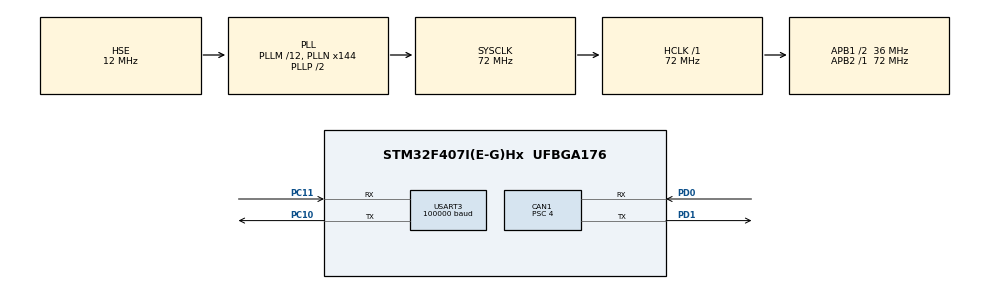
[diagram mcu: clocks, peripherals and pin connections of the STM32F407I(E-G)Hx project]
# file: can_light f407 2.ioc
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CAN1.BS1=CAN_BS1_7TQ
CAN1.CalculateBaudRate=1000000
CAN1.CalculateTimeBit=1000
CAN1.CalculateTimeQuantum=111.11111111111111
CAN1.Prescaler=4
Dma.Request0=USART3_RX
Dma.USART3_RX.0.Direction=DMA_PERIPH_TO_MEMORY
Dma.USART3_RX.0.FIFOMode=DMA_FIFOMODE_DISABLE
Dma.USART3_RX.0.Instance=DMA1_Stream1
Dma.USART3_RX.0.MemDataAlignment=DMA_MDATAALIGN_BYTE
Dma.USART3_RX.0.MemInc=DMA_MINC_ENABLE
Dma.USART3_RX.0.Mode=DMA_NORMAL
Dma.USART3_RX.0.PeriphDataAlignment=DMA_PDATAALIGN_BYTE
Dma.USART3_RX.0.PeriphInc=DMA_PINC_DISABLE
Dma.USART3_RX.0.Priority=DMA_PRIORITY_VERY_HIGH
Mcu.Family=STM32F4
Mcu.Name=STM32F407I(E-G)Hx
Mcu.Package=UFBGA176
NVIC.CAN1_RX0_IRQn=true\:0\:0\:false\:false\:true\:true\:true\:true
NVIC.DMA1_Stream1_IRQn=true\:0\:0\:false\:false\:true\:false\:true\:true
NVIC.PriorityGroup=NVIC_PRIORITYGROUP_4
NVIC.TIM5_IRQn=true\:0\:0\:false\:false\:true\:true\:true\:true
PA13.Mode=Serial_Wire
PA13.Signal=SYS_JTMS-SWDIO
PA14.Mode=Serial_Wire
PA14.Signal=SYS_JTCK-SWCLK
PC10.Mode=Asynchronous
PC10.Signal=USART3_TX
PC11.Mode=Asynchronous
PC11.Signal=USART3_RX
PD0.Mode=CAN_Activate
PD0.Signal=CAN1_RX
PD1.Mode=CAN_Activate
PD1.Signal=CAN1_TX
PH0-OSC_IN.Mode=HSE-External-Oscillator
PH0-OSC_IN.Signal=RCC_OSC_IN
PH1-OSC_OUT.Mode=HSE-External-Oscillator
PH1-OSC_OUT.Signal=RCC_OSC_OUT
ProjectManager.HeapSize=0x200
ProjectManager.StackSize=0x400
ProjectManager.TargetToolchain=MDK-ARM V5
RCC.48MHZClocksFreq_Value=36000000
RCC.AHBFreq_Value=72000000
RCC.APB1CLKDivider=RCC_HCLK_DIV2
RCC.APB1Freq_Value=36000000
RCC.APB1TimFreq_Value=72000000
RCC.APB2Freq_Value=72000000
RCC.APB2TimFreq_Value=72000000
RCC.CortexFreq_Value=72000000
RCC.HCLKFreq_Value=72000000
RCC.HSE_VALUE=12000000
RCC.HSI_VALUE=16000000
RCC.LSE_VALUE=32768
RCC.PLLM=12
RCC.PLLN=144
RCC.PLLSourceVirtual=RCC_PLLSOURCE_HSE
RCC.SYSCLKFreq_VALUE=72000000
RCC.SYSCLKSource=RCC_SYSCLKSOURCE_PLLCLK
RCC.VCOOutputFreq_Value=144000000
TIM5.AutoReloadPreload=TIM_AUTORELOAD_PRELOAD_ENABLE
TIM5.Channel-PWM\ Generation1\ No\ Output=TIM_CHANNEL_1
TIM5.OCPolarity_1=TIM_OCPOLARITY_LOW
USART3.BaudRate=100000
USART3.Parity=PARITY_EVEN
USART3.VirtualMode=VM_ASYNC
USART3.WordLength=WORDLENGTH_9B
VP_TIM5_VS_ClockSourceINT.Mode=Internal
VP_TIM5_VS_no_output1.Mode=PWM Generation1 No Output
board=custom

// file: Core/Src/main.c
/* USER CODE BEGIN Header */
/**
  ******************************************************************************
  * @file           : main.c
  * @brief          : Main program body
  ******************************************************************************
  * @attention
  *
  * Copyright (c) 2024 STMicroelectronics.
  * All rights reserved.
  *
  * This software is licensed under terms that can be found in the LICENSE file
  * in the root directory of this software component.
  * If no LICENSE file comes with this software, it is provided AS-IS.
  *
  ******************************************************************************
  */
/* USER CODE END Header */
#include "main.h"
#include "can.h"
#include "dma.h"
#include "tim.h"
#include "usart.h"
#include "gpio.h"

/* USER CODE BEGIN Includes */
#include "can_user.h"
#include "pid.h"
/* USER CODE END Includes */

/* USER CODE BEGIN PD */
/* USER CODE BEGIN 0 */
extern uint16_t angle;
extern uint16_t speed;
/* USER CODE END PD */

/* USER CODE BEGIN PM */

/* Private variables ---------------------------------------------------------*/

/* USER CODE BEGIN PV */

/* USER CODE END PV */

/* Private function prototypes -----------------------------------------------*/
void SystemClock_Config(void);
/* USER CODE BEGIN PFP */

/* USER CODE END PFP */

/* Private user code ---------------------------------------------------------*/
/* USER CODE BEGIN 0 */
extern uint16_t angle;
extern uint16_t speed;
/* USER CODE END PD */

/* Private macro -------------------------------------------------------------*/
/* USER CODE BEGIN PM */

/* USER CODE END PM */

void SystemClock_Config(void);

/* USER CODE BEGIN 0 */
extern uint16_t angle;
extern uint16_t speed;
/* USER CODE END PD */

/* Private macro -------------------------------------------------------------*/
/* USER CODE BEGIN PM */

/* Private variables ---------------------------------------------------------*/

/* USER CODE BEGIN PV */

/* USER CODE END PV */

/* Private function prototypes -----------------------------------------------*/
void SystemClock_Config(void);
/* USER CODE BEGIN PFP */

/* USER CODE END PFP */

/* Private user code ---------------------------------------------------------*/
/* USER CODE BEGIN 0 */
extern uint16_t angle;
extern uint16_t speed;
/* USER CODE END PD */

/* Private macro -------------------------------------------------------------*/
/* USER CODE BEGIN PM */

/* USER CODE END PM */

/* Private variables ---------------------------------------------------------*/

/* USER CODE BEGIN PV */

/* USER CODE END PV */

/* Private function prototypes -----------------------------------------------*/
void SystemClock_Config(void);
/* USER CODE BEGIN PFP */

/* USER CODE END PFP */

/* Private user code ---------------------------------------------------------*/
/* USER CODE BEGIN 0 */
extern uint16_t angle;
extern uint16_t speed;
/* USER CODE END PD */

/* Private macro -------------------------------------------------------------*/
/* USER CODE BEGIN PM */

/* Private variables ---------------------------------------------------------*/

/* USER CODE BEGIN PV */

/* USER CODE END PV */

/* Private function prototypes -----------------------------------------------*/
void SystemClock_Config(void);
/* USER CODE BEGIN PFP */

/* USER CODE END PFP */

/* Private user code ---------------------------------------------------------*/
/* USER CODE BEGIN 0 */
extern uint16_t angle;
extern uint16_t speed;
/* USER CODE END PD */

/* Private macro -------------------------------------------------------------*/
/* USER CODE BEGIN PM */

/* USER CODE END PM */

/* Private variables ---------------------------------------------------------*/

/* USER CODE BEGIN PV */

/* USER CODE END PV */

/* Private function prototypes -----------------------------------------------*/
void SystemClock_Config(void);
/* USER CODE BEGIN PFP */

/* USER CODE END PFP */

/* Private user code ---------------------------------------------------------*/
/* USER CODE BEGIN 0 */
extern uint16_t angle;
extern uint16_t speed;
/* USER CODE END PD */

/* Private macro -------------------------------------------------------------*/
/* USER CODE BEGIN PM */
RC_Ctl_t RC_Ctl;   				    //声明遥控器数据结构体
uint8_t sbus_rx_buffer[18]; 		//声明遥控器缓存数据结构体
int TongDao0 = 0;                   //声明变量

/* Private variables ---------------------------------------------------------*/

/* USER CODE BEGIN PV */

/* USER CODE END PV */

/* Private function prototypes -----------------------------------------------*/
void SystemClock_Config(void);
/* USER CODE BEGIN PFP */

/* USER CODE END PFP */

/* Private user code ---------------------------------------------------------*/
/* USER CODE BEGIN 0 */
extern uint16_t angle;
extern uint16_t speed;
/* USER CODE END PD */

/* Private macro -------------------------------------------------------------*/
/* USER CODE BEGIN PM */

/* USER CODE END PM */

/* Private variables ---------------------------------------------------------*/

/* USER CODE BEGIN PV */

/* USER CODE END PV */

/* Private function prototypes -----------------------------------------------*/
void SystemClock_Config(void);
/* USER CODE BEGIN PFP */

/* USER CODE END PFP */

/* Private user code ---------------------------------------------------------*/
/* USER CODE BEGIN 0 */
extern uint16_t angle;
extern uint16_t speed;
/* USER CODE END PD */

/* Private macro -------------------------------------------------------------*/
/* USER CODE BEGIN PM */

/* Private variables ---------------------------------------------------------*/

/* USER CODE BEGIN PV */

/* USER CODE END PV */

/* Private function prototypes -----------------------------------------------*/
void SystemClock_Config(void);
/* USER CODE BEGIN PFP */

/* USER CODE END PFP */

/* Private user code ---------------------------------------------------------*/
/* USER CODE BEGIN 0 */
extern uint16_t angle;
extern uint16_t speed;
/* USER CODE END PD */

/* Private macro -------------------------------------------------------------*/
/* USER CODE BEGIN PM */

/* USER CODE END PM */

/* Private variables ---------------------------------------------------------*/

/* USER CODE BEGIN PV */

/* USER CODE END PV */

/* Private function prototypes -----------------------------------------------*/
void SystemClock_Config(void);
/* USER CODE BEGIN PFP */

/* USER CODE END PFP */

/* Private user code ---------------------------------------------------------*/

/* USER CODE END 0 */

int main(void)
{

  /* MCU Configuration--------------------------------------------------------*/

  /* Reset of all peripherals, Initializes the Flash interface and the Systick. */
  HAL_Init();

  /* Configure the system clock */
  SystemClock_Config();

  /* Initialize all configured peripherals */
  MX_GPIO_Init();
  MX_DMA_Init();
  MX_CAN1_Init();
  MX_TIM5_Init();
  MX_USART3_UART_Init();
  /* USER CODE BEGIN 2 */
   HAL_CAN_Start(&hcan1);
   can_filter_init();
   HAL_UARTEx_ReceiveToIdle_DMA(&huart3,sbus_rx_buffer,18);
  __HAL_DMA_DISABLE_IT(huart3.hdmarx,DMA_IT_HT);
   //HAL_UART_Receive_DMA(&huart3,sbus_rx_buffer,18);
  /* USER CODE END 2 */

  /* Infinite loop */
  while (1)
  {

    /* USER CODE BEGIN 3 */
	 TongDao0 = (RC_Ctl.rc.ch0-1024)*1.5;
	 CAN_cmd_6020motor(0,TongDao0,0,0);
	//  pid_output(360);
	  HAL_Delay(1);

  }
  /* USER CODE END 3 */
}

void SystemClock_Config(void)
{
  RCC_OscInitTypeDef RCC_OscInitStruct = {0};
  RCC_ClkInitTypeDef RCC_ClkInitStruct = {0};

  /** Configure the main internal regulator output voltage
  */
  __HAL_RCC_PWR_CLK_ENABLE();
  __HAL_PWR_VOLTAGESCALING_CONFIG(PWR_REGULATOR_VOLTAGE_SCALE1);

  /** Initializes the RCC Oscillators according to the specified parameters
  * in the RCC_OscInitTypeDef structure.
  */
  RCC_OscInitStruct.OscillatorType = RCC_OSCILLATORTYPE_HSE;
  RCC_OscInitStruct.HSEState = RCC_HSE_ON;
  RCC_OscInitStruct.PLL.PLLState = RCC_PLL_ON;
  RCC_OscInitStruct.PLL.PLLSource = RCC_PLLSOURCE_HSE;
  RCC_OscInitStruct.PLL.PLLM = 12;
  RCC_OscInitStruct.PLL.PLLN = 144;
  RCC_OscInitStruct.PLL.PLLP = RCC_PLLP_DIV2;
  RCC_OscInitStruct.PLL.PLLQ = 4;
  if (HAL_RCC_OscConfig(&RCC_OscInitStruct) != HAL_OK)
  {
    Error_Handler();
  }

  /** Initializes the CPU, AHB and APB buses clocks
  */
  RCC_ClkInitStruct.ClockType = RCC_CLOCKTYPE_HCLK|RCC_CLOCKTYPE_SYSCLK
                              |RCC_CLOCKTYPE_PCLK1|RCC_CLOCKTYPE_PCLK2;
  RCC_ClkInitStruct.SYSCLKSource = RCC_SYSCLKSOURCE_PLLCLK;
  RCC_ClkInitStruct.AHBCLKDivider = RCC_SYSCLK_DIV1;
  RCC_ClkInitStruct.APB1CLKDivider = RCC_HCLK_DIV2;
  RCC_ClkInitStruct.APB2CLKDivider = RCC_HCLK_DIV1;

  if (HAL_RCC_ClockConfig(&RCC_ClkInitStruct, FLASH_LATENCY_2) != HAL_OK)
  {
    Error_Handler();
  }
}

/* USER CODE BEGIN 4 */
void HAL_UARTEx_RxEventCallback(UART_HandleTypeDef *huart,uint16_t Size)
{
				RC_Ctl.rc.ch0 = (sbus_rx_buffer[0]| (sbus_rx_buffer[1] << 8)) & 0x07ff;
				RC_Ctl.rc.ch1 = ((sbus_rx_buffer[1] >> 3) | (sbus_rx_buffer[2] << 5)) & 0x07ff;
				RC_Ctl.rc.ch2 = ((sbus_rx_buffer[2] >> 6) | (sbus_rx_buffer[3] << 2) | (sbus_rx_buffer[4] << 10)) & 0x07ff;
				RC_Ctl.rc.ch3 = ((sbus_rx_buffer[4] >> 1) | (sbus_rx_buffer[5] << 7)) & 0x07ff;
				RC_Ctl.rc.s1  = ((sbus_rx_buffer[5] >> 4)& 0x000C) >> 2;
				RC_Ctl.rc.s2  = ((sbus_rx_buffer[5] >> 4)& 0x0003);

//				RC_Ctl.mouse.x = sbus_rx_buffer[6] | (sbus_rx_buffer[7] << 8);                    //!< Mouse X axis
//				RC_Ctl.mouse.y = sbus_rx_buffer[8] | (sbus_rx_buffer[9] << 8);                    //!< Mouse Y axis
//				RC_Ctl.mouse.z = sbus_rx_buffer[10] | (sbus_rx_buffer[11] << 8);                  //!< Mouse Z axis
//				RC_Ctl.mouse.press_l = sbus_rx_buffer[12];                                        //!< Mouse Left Is Press
//				RC_Ctl.mouse.press_r = sbus_rx_buffer[13];                                        //!< Mouse Right Is Press
//	 			RC_Ctl.key.v = sbus_rx_buffer[14] | (sbus_rx_buffer[15] << 8);   			//!< KeyBoard value

	            HAL_UARTEx_ReceiveToIdle_DMA(&huart3,sbus_rx_buffer,18);
              __HAL_DMA_DISABLE_IT(huart3.hdmarx,DMA_IT_HT);
}
/* USER CODE END 4 */

void Error_Handler(void)
{
  __disable_irq();
  while (1)
  {
  }
}
